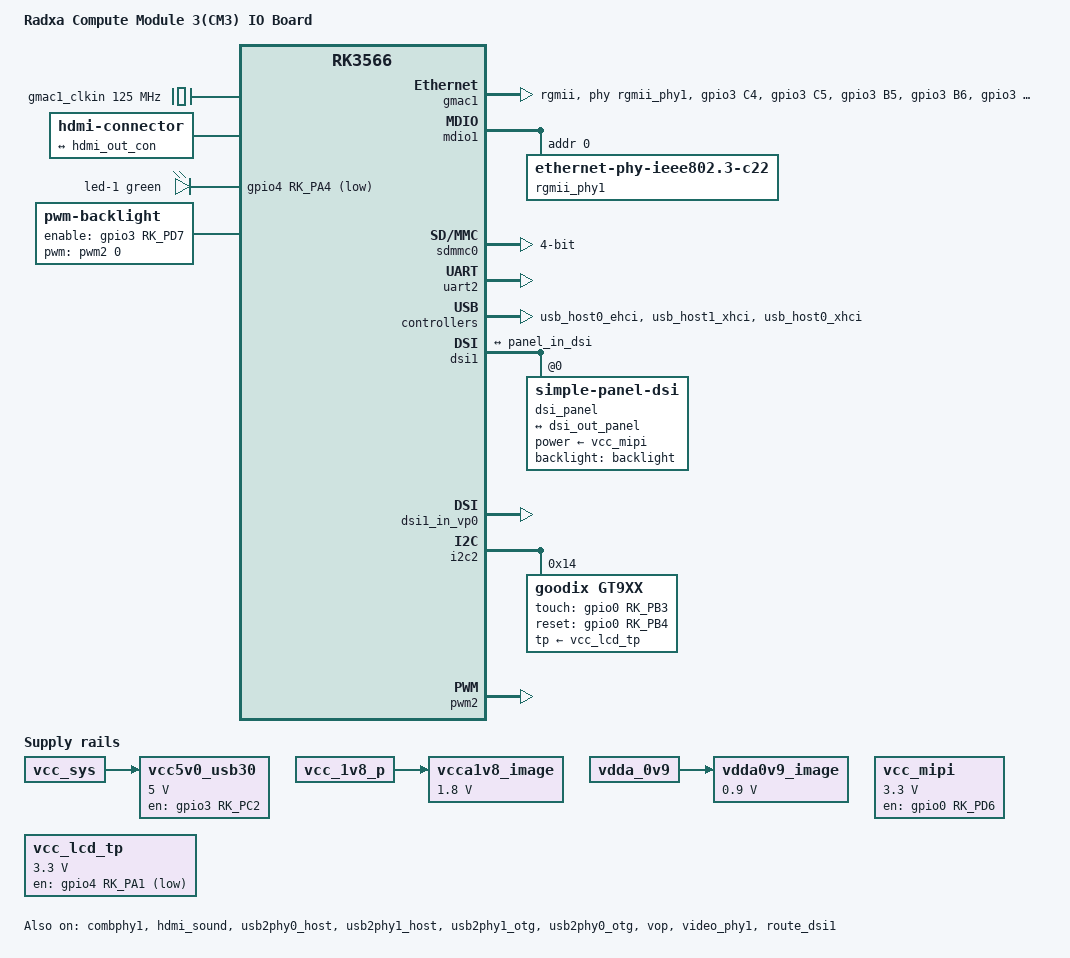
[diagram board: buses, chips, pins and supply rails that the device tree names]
// SPDX-License-Identifier: (GPL-2.0+ OR MIT)
/*
 * Copyright (c) 2022 Radxa Limited
 * Copyright (c) 2022 Amarula Solutions(India)
 */

/dts-v1/;
#include <dt-bindings/soc/rockchip,vop2.h>
#include "rk3566.dtsi"
#include "rk3566-radxa-cm3.dtsi"
#include <dt-bindings/interrupt-controller/irq.h>
#include <dt-bindings/pinctrl/rockchip.h>
#include <dt-bindings/display/drm_mipi_dsi.h>
#include <dt-bindings/pwm/pwm.h>

/ {
	model = "Radxa Compute Module 3(CM3) IO Board";
	compatible = "radxa,cm3-io", "radxa,cm3", "rockchip,rk3566";

	aliases {
		ethernet0 = &gmac1;
		mmc1 = &sdmmc0;
	};

	chosen: chosen {
		stdout-path = "serial2:1500000n8";
	};

	gmac1_clkin: external-gmac1-clock {
		compatible = "fixed-clock";
		clock-frequency = <125000000>;
		clock-output-names = "gmac1_clkin";
		#clock-cells = <0>;
	};

	hdmi-con {
		compatible = "hdmi-connector";
		type = "a";

		port {
			hdmi_con_in: endpoint {
				remote-endpoint = <&hdmi_out_con>;
			};
		};
	};

	leds {
		compatible = "gpio-leds";

		led-1 {
			gpios = <&gpio4 RK_PA4 GPIO_ACTIVE_LOW>;
			color = <LED_COLOR_ID_GREEN>;
			function = LED_FUNCTION_ACTIVITY;
			linux,default-trigger = "heartbeat";
			pinctrl-names = "default";
			pinctrl-0 = <&pi_nled_activity>;
		};
	};

	vcc5v0_usb30: vcc5v0-usb30-regulator {
		compatible = "regulator-fixed";
		regulator-name = "vcc5v0_usb30";
		enable-active-high;
		gpio = <&gpio3 RK_PC2 GPIO_ACTIVE_HIGH>;
		pinctrl-names = "default";
		pinctrl-0 = <&vcc5v0_usb30_en_h>;
		regulator-always-on;
		regulator-min-microvolt = <5000000>;
		regulator-max-microvolt = <5000000>;
		vin-supply = <&vcc_sys>;
	};

	vcca1v8_image: vcca1v8-image-regulator {
		compatible = "regulator-fixed";
		regulator-name = "vcca1v8_image";
		regulator-always-on;
		regulator-boot-on;
		regulator-min-microvolt = <1800000>;
		regulator-max-microvolt = <1800000>;
		vin-supply = <&vcc_1v8_p>;
	};

	vdda0v9_image: vdda0v9-image-regulator {
		compatible = "regulator-fixed";
		regulator-name = "vcca0v9_image";
		regulator-always-on;
		regulator-boot-on;
		regulator-min-microvolt = <900000>;
		regulator-max-microvolt = <900000>;
		vin-supply = <&vdda_0v9>;
	};

	vcc_mipi: vcc-mipi {
		status = "okay";
		compatible = "regulator-fixed";
		regulator-name = "vcc_mipi";
		regulator-min-microvolt = <3300000>;
		regulator-max-microvolt = <3300000>;
		pinctrl-names = "default";
		pinctrl-0 = <&vcc_mipi_pin>;
		gpio = <&gpio0 RK_PD6 GPIO_ACTIVE_HIGH>;
		enable-active-high;
		regulator-always-on;
		regulator-state-mem {
			regulator-off-in-suspend;
		};
	};

	vcc_lcd_tp: vcc-lcd-tp {
		status = "okay";
		compatible = "regulator-fixed";
		regulator-name = "vcc_lcd_tp";
		regulator-min-microvolt = <3300000>;
		regulator-max-microvolt = <3300000>;
		pinctrl-names = "default";
		pinctrl-0 = <&vcc_tp_pin>;
		gpio = <&gpio4 RK_PA1 GPIO_ACTIVE_LOW>;
		regulator-always-on;
		regulator-state-mem {
			regulator-off-in-suspend;
		};
	};

	backlight: backlight {
		status = "okay";
		compatible = "pwm-backlight";
		pinctrl-names = "default";
		pinctrl-0 = <&dsi1_backlight_en>;
		pwms = <&pwm2 0 25000 PWM_POLARITY_INVERTED>;
		enable-gpios = <&gpio3 RK_PD7 0>;
		post-pwm-on-delay-ms = <10>;
		pwm-off-delay-ms = <10>;
		brightness-levels = <
			0  20  20  21  21  22  22  23
			23  24  24  25  25  26  26  27
			27  28  28  29  29  30  30  31
			31  32  32  33  33  34  34  35
			35  36  36  37  37  38  38  39
			40  41  42  43  44  45  46  47
			48  49  50  51  52  53  54  55
			56  57  58  59  60  61  62  63
			64  65  66  67  68  69  70  71
			72  73  74  75  76  77  78  79
			80  81  82  83  84  85  86  87
			88  89  90  91  92  93  94  95
			96  97  98  99 100 101 102 103
			104 105 106 107 108 109 110 111
			112 113 114 115 116 117 118 119
			120 121 122 123 124 125 126 127
			128 129 130 131 132 133 134 135
			136 137 138 139 140 141 142 143
			144 145 146 147 148 149 150 151
			152 153 154 155 156 157 158 159
			160 161 162 163 164 165 166 167
			168 169 170 171 172 173 174 175
			176 177 178 179 180 181 182 183
			184 185 186 187 188 189 190 191
			192 193 194 195 196 197 198 199
			200 201 202 203 204 205 206 207
			208 209 210 211 212 213 214 215
			216 217 218 219 220 221 222 223
			224 225 226 227 228 229 230 231
			232 233 234 235 236 237 238 239
			240 241 242 243 244 245 246 247
			248 249 250 251 252 253 254 255
		>;
		default-brightness-level = <200>;
	};
};

&combphy1 {
	status = "okay";
};

&gmac1 {
	assigned-clocks = <&cru SCLK_GMAC1_RX_TX>, <&cru SCLK_GMAC1>;
	assigned-clock-parents = <&cru SCLK_GMAC1_RGMII_SPEED>, <&gmac1_clkin>;
	assigned-clock-rates = <0>, <125000000>;
	clock_in_out = "input";
	phy-handle = <&rgmii_phy1>;
	phy-mode = "rgmii";
	pinctrl-names = "default";
	pinctrl-0 = <&gmac1m0_miim
		     &gmac1m0_tx_bus2
		     &gmac1m0_rx_bus2
		     &gmac1m0_rgmii_clk
		     &gmac1m0_rgmii_bus
		     &gmac1m0_clkinout>;
	snps,reset-gpio = <&gpio4 RK_PC2 GPIO_ACTIVE_LOW>;
	snps,reset-active-low;
	/* Reset time is 20ms, 100ms for rtl8211f */
	snps,reset-delays-us = <0 20000 100000>;
	tx_delay = <0x46>;
	rx_delay = <0x2e>;
	status = "okay";
};

&hdmi {
	avdd-0v9-supply = <&vdda0v9_image>;
	avdd-1v8-supply = <&vcca1v8_image>;
	status = "okay";
};

&hdmi_in {
	hdmi_in_vp0: endpoint {
		remote-endpoint = <&vp0_out_hdmi>;
	};
};

&hdmi_out {
	hdmi_out_con: endpoint {
		remote-endpoint = <&hdmi_con_in>;
	};
};

&hdmi_sound {
	status = "okay";
};

&mdio1 {
	rgmii_phy1: ethernet-phy@0 {
		compatible = "ethernet-phy-ieee802.3-c22";
		reg = <0x0>;
	};
};

&pinctrl {
	gmac1 {
		gmac1m0_miim: gmac1m0-miim {
			rockchip,pins =
				/* gmac1_mdcm0 */
				<3 RK_PC4 3 &pcfg_pull_none_drv_level_15>,
				/* gmac1_mdiom0 */
				<3 RK_PC5 3 &pcfg_pull_none_drv_level_15>;
		};

		gmac1m0_rx_bus2: gmac1m0-rx-bus2 {
			rockchip,pins =
				/* gmac1_rxd0m0 */
				<3 RK_PB1 3 &pcfg_pull_none_drv_level_15>,
				/* gmac1_rxd1m0 */
				<3 RK_PB2 3 &pcfg_pull_none_drv_level_15>,
				/* gmac1_rxdvcrsm0 */
				<3 RK_PB3 3 &pcfg_pull_none_drv_level_15>;
		};

		gmac1m0_tx_bus2: gmac1m0-tx-bus2 {
			rockchip,pins =
				/* gmac1_txd0m0 */
				<3 RK_PB5 3 &pcfg_pull_none_drv_level_15>,
				/* gmac1_txd1m0 */
				<3 RK_PB6 3 &pcfg_pull_none_drv_level_15>,
				/* gmac1_txenm0 */
				<3 RK_PB7 3 &pcfg_pull_none_drv_level_15>;
		};

		gmac1m0_rgmii_clk: gmac1m0-rgmii-clk {
			rockchip,pins =
				/* gmac1_rxclkm0 */
				<3 RK_PA7 3 &pcfg_pull_none_drv_level_15>,
				/* gmac1_txclkm0 */
				<3 RK_PA6 3 &pcfg_pull_none_drv_level_15>;
		};

		gmac1m0_rgmii_bus: gmac1m0-rgmii-bus {
			rockchip,pins =
				/* gmac1_rxd2m0 */
				<3 RK_PA4 3 &pcfg_pull_none_drv_level_15>,
				/* gmac1_rxd3m0 */
				<3 RK_PA5 3 &pcfg_pull_none_drv_level_15>,
				/* gmac1_txd2m0 */
				<3 RK_PA2 3 &pcfg_pull_none_drv_level_15>,
				/* gmac1_txd3m0 */
				<3 RK_PA3 3 &pcfg_pull_none_drv_level_15>;
		};

		gmac1m0_clkinout: gmac1m0-clkinout {
			rockchip,pins =
				/* gmac1_mclkinoutm0 */
				<3 RK_PC0 3 &pcfg_pull_none_drv_level_15>;
		};
	};

	leds {
		pi_nled_activity: pi-nled-activity {
			rockchip,pins = <4 RK_PA4 RK_FUNC_GPIO &pcfg_pull_none>;
		};
	};

	sdcard {
		sdmmc_pwren: sdmmc-pwren {
			rockchip,pins = <0 RK_PA5 RK_FUNC_GPIO &pcfg_pull_none>;
		};
	};

	usb {
		vcc5v0_usb30_en_h: vcc5v0-host-en-h {
			rockchip,pins = <3 RK_PC2 RK_FUNC_GPIO &pcfg_pull_none>;
		};
	};
};

&sdmmc0 {
	bus-width = <4>;
	cap-mmc-highspeed;
	cap-sd-highspeed;
	disable-wp;
	vqmmc-supply = <&vccio_sd>;
	pinctrl-names = "default";
	pinctrl-0 = <&sdmmc0_bus4 &sdmmc0_clk &sdmmc0_cmd &sdmmc0_det &sdmmc0_pwren>;
	status = "okay";
};

&uart2 {
	status = "okay";
};

&usb2phy0_host {
	phy-supply = <&vcc5v0_usb30>;
	status = "okay";
};

&usb2phy1_host {
	status = "okay";
};

&usb2phy1_otg {
	status = "okay";
};

&usb_host0_ehci {
	status = "okay";
};

&usb_host1_xhci {
	status = "okay";
};

&usb2phy0_otg {
	status = "okay";
};

&usb_host0_xhci {
	status = "okay";
};

&vop {
	assigned-clocks = <&cru DCLK_VOP0>, <&cru DCLK_VOP1>;
	assigned-clock-parents = <&pmucru PLL_HPLL>, <&cru PLL_VPLL>;
	status = "okay";
};

&vop_mmu {
	status = "okay";
};

&vp0 {
	vp0_out_hdmi: endpoint@ROCKCHIP_VOP2_EP_HDMI0 {
		reg = <ROCKCHIP_VOP2_EP_HDMI0>;
		remote-endpoint = <&hdmi_in_vp0>;
	};
};

&dsi1 {
	status = "okay";

	#address-cells = <1>;
	#size-cells = <0>;

	dsi_panel: panel@0 {
		status = "okay";
		compatible = "simple-panel-dsi";
		reg = <0>;
		backlight = <&backlight>;
		power-supply = <&vcc_mipi>;
		pinctrl-names = "default";
		pinctrl-0 = <&dsi1_lcd_rst_gpio>;

		width-mm = <107>;
		height-mm = <199>;
		dsi,flags = <(MIPI_DSI_MODE_VIDEO | MIPI_DSI_MODE_VIDEO_BURST | MIPI_DSI_MODE_LPM | MIPI_DSI_MODE_EOT_PACKET)>;
		dsi,format = <MIPI_DSI_FMT_RGB888>;
		dsi,lanes  = <2>;
		panel-init-sequence = [
			15 00 02 E0 00
			15 00 02 E1 93
			15 00 02 E2 65
			15 00 02 E3 F8
			15 00 02 80 03
			15 00 02 E0 01
			15 00 02 00 00
			15 00 02 01 72
			15 00 02 03 00
			15 00 02 04 65
			15 00 02 0C 74
			15 00 02 17 00
			15 00 02 18 B7
			15 00 02 19 00
			15 00 02 1A 00
			15 00 02 1B B7
			15 00 02 1C 00
			15 00 02 24 FE
			15 00 02 37 19
			15 00 02 38 05
			15 00 02 39 00
			15 00 02 3A 01
			15 00 02 3B 01
			15 00 02 3C 70
			15 00 02 3D FF
			15 00 02 3E FF
			15 00 02 3F FF
			15 00 02 40 06
			15 00 02 41 A0
			15 00 02 43 1E
			15 00 02 44 0F
			15 00 02 45 28
			15 00 02 4B 04
			15 00 02 55 02
			15 00 02 56 01
			15 00 02 57 A9
			15 00 02 58 0A
			15 00 02 59 0A
			15 00 02 5A 37
			15 00 02 5B 19
			15 00 02 5D 78
			15 00 02 5E 63
			15 00 02 5F 54
			15 00 02 60 48
			15 00 02 61 45
			15 00 02 62 38
			15 00 02 63 3D
			15 00 02 64 28
			15 00 02 65 43
			15 00 02 66 41
			15 00 02 67 43
			15 00 02 68 62
			15 00 02 69 50
			15 00 02 6A 57
			15 00 02 6B 49
			15 00 02 6C 44
			15 00 02 6D 37
			15 00 02 6E 23
			15 00 02 6F 10
			15 00 02 70 78
			15 00 02 71 63
			15 00 02 72 54
			15 00 02 73 49
			15 00 02 74 45
			15 00 02 75 38
			15 00 02 76 3D
			15 00 02 77 28
			15 00 02 78 43
			15 00 02 79 41
			15 00 02 7A 43
			15 00 02 7B 62
			15 00 02 7C 50
			15 00 02 7D 57
			15 00 02 7E 49
			15 00 02 7F 44
			15 00 02 80 37
			15 00 02 81 23
			15 00 02 82 10
			15 00 02 E0 02
			15 00 02 00 47
			15 00 02 01 47
			15 00 02 02 45
			15 00 02 03 45
			15 00 02 04 4B
			15 00 02 05 4B
			15 00 02 06 49
			15 00 02 07 49
			15 00 02 08 41
			15 00 02 09 1F
			15 00 02 0A 1F
			15 00 02 0B 1F
			15 00 02 0C 1F
			15 00 02 0D 1F
			15 00 02 0E 1F
			15 00 02 0F 5F
			15 00 02 10 5F
			15 00 02 11 57
			15 00 02 12 77
			15 00 02 13 35
			15 00 02 14 1F
			15 00 02 15 1F
			15 00 02 16 46
			15 00 02 17 46
			15 00 02 18 44
			15 00 02 19 44
			15 00 02 1A 4A
			15 00 02 1B 4A
			15 00 02 1C 48
			15 00 02 1D 48
			15 00 02 1E 40
			15 00 02 1F 1F
			15 00 02 20 1F
			15 00 02 21 1F
			15 00 02 22 1F
			15 00 02 23 1F
			15 00 02 24 1F
			15 00 02 25 5F
			15 00 02 26 5F
			15 00 02 27 57
			15 00 02 28 77
			15 00 02 29 35
			15 00 02 2A 1F
			15 00 02 2B 1F
			15 00 02 58 40
			15 00 02 59 00
			15 00 02 5A 00
			15 00 02 5B 10
			15 00 02 5C 06
			15 00 02 5D 40
			15 00 02 5E 01
			15 00 02 5F 02
			15 00 02 60 30
			15 00 02 61 01
			15 00 02 62 02
			15 00 02 63 03
			15 00 02 64 6B
			15 00 02 65 05
			15 00 02 66 0C
			15 00 02 67 73
			15 00 02 68 09
			15 00 02 69 03
			15 00 02 6A 56
			15 00 02 6B 08
			15 00 02 6C 00
			15 00 02 6D 04
			15 00 02 6E 04
			15 00 02 6F 88
			15 00 02 70 00
			15 00 02 71 00
			15 00 02 72 06
			15 00 02 73 7B
			15 00 02 74 00
			15 00 02 75 F8
			15 00 02 76 00
			15 00 02 77 D5
			15 00 02 78 2E
			15 00 02 79 12
			15 00 02 7A 03
			15 00 02 7B 00
			15 00 02 7C 00
			15 00 02 7D 03
			15 00 02 7E 7B
			15 00 02 E0 04
			15 00 02 00 0E
			15 00 02 02 B3
			15 00 02 09 60
			15 00 02 0E 2A
			15 00 02 36 59
			15 00 02 E0 00
			15 00 02 80 01
			15 00 02 E0 00
			15 00 02 11 00
			15 78 02 29 00
		];

		panel-exit-sequence = [
			05 00 01 28
			05 00 01 10
		];

		disp_timings0: display-timings {
			native-mode = <&dsi0_timing0>;
			dsi0_timing0: timing0 {
				clock-frequency = <70000000>;
				hactive = <800>;
				vactive = <1280>;
				hsync-len = <20>;
				hback-porch = <20>;
				hfront-porch = <40>;
				vsync-len = <4>;
				vback-porch = <28>;
				vfront-porch = <30>;
				hsync-active = <0>;
				vsync-active = <0>;
				de-active = <0>;
				pixelclk-active = <0>;
			};
		};

		ports {
			#address-cells = <1>;
			#size-cells = <0>;
			port@0 {
				reg = <0>;
				panel_in_dsi: endpoint {
					remote-endpoint = <&dsi_out_panel>;
				};
			};
		};
	};

	ports {
		#address-cells = <1>;
		#size-cells = <0>;

		port@1 {
			reg = <1>;
			dsi_out_panel: endpoint {
				remote-endpoint = <&panel_in_dsi>;
			};
		};
	};
};

&dsi1_in_vp0 {
	status = "okay";
};

&video_phy1 {
	status = "okay";
};

&hdmi_in_vp0 {
	status = "disabled";
};

&hdmi {
	status = "disabled";
};

&route_dsi1 {
	status = "okay";
	connect = <&vp0_out_dsi1>;
};

&i2c2 {
	status = "okay";
	pinctrl-0 = <&i2c2m1_xfer>;
	#address-cells = <1>;
	#size-cells = <0>;

	gt9xx: gt9xx@14 {
		status = "okay";
		compatible = "goodix,gt9xx";
		reg = <0x14>;
		pinctrl-names = "default";
		pinctrl-0 = <&gt9xx_gpio>;
		touch-gpio = <&gpio0 RK_PB3 IRQ_TYPE_LEVEL_HIGH>;
		reset-gpio = <&gpio0 RK_PB4 GPIO_ACTIVE_HIGH>;
		max-x = <800>;
		max-y = <1280>;
		tp-size = <9112>;
		tp-supply = <&vcc_lcd_tp>;
	};
};

&pwm2 {
	status = "okay";
};

&pinctrl {
	gt9xx {
		gt9xx_gpio: gt9xx-gpio {
			rockchip,pins =
				<0 RK_PB3 RK_FUNC_GPIO &pcfg_pull_none>,
				<0 RK_PB4 RK_FUNC_GPIO &pcfg_pull_up>;
		};
	};

	lcd-vcc {
		vcc_mipi_pin: vcc-mipi-pin {
			rockchip,pins = <0 RK_PD6 RK_FUNC_GPIO &pcfg_pull_up>;
		};

		vcc_tp_pin: vcc-tp-pin {
			rockchip,pins = <4 RK_PA1 RK_FUNC_GPIO &pcfg_pull_down>;
		};
	};

	dsi1-lcd {
		dsi1_lcd_rst_gpio: dsi1-lcd-rst-gpio {
			rockchip,pins = <4 RK_PA0 RK_FUNC_GPIO &pcfg_pull_up>;
		};

		dsi1_backlight_en: dsi1-backlight-en {
			rockchip,pins = <3 RK_PD7 RK_FUNC_GPIO &pcfg_pull_up>;
		};
	};
};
